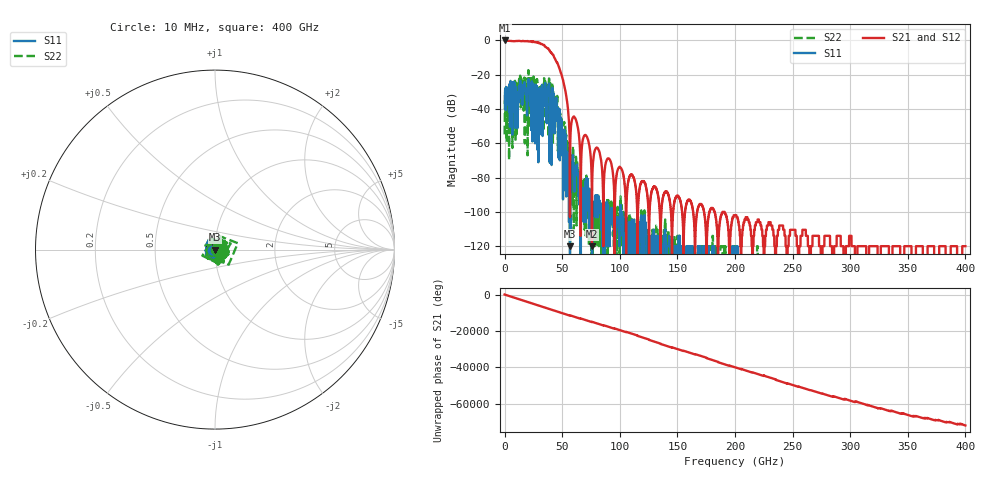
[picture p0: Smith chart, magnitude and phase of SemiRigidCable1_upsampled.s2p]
# MHz MA S R 50.0
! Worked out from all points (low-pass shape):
!   40000 points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, 10 MHz to 400 GHz, reference 50 ohm
!   highest |S21| = -0.03 dB at 10 MHz (marker M1); lowest = -120.0 dB at 75.84 GHz (marker M2)
!   |S21| within 3 dB of the highest: start of sweep to 34.58 GHz
!   lowest |S11| = -120.0 dB at 56.75 GHz (marker M3), VSWR 1.00, Z = 50 + j9.85e-05 ohm
!   |S11| at or under -10 dB: start of sweep to end of sweep
!   |S22| runs from - to -17.3 dB; largest |S21 - S12| = 0.023
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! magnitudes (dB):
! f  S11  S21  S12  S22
! 10 MHz  -36.4  0.0  0.0  -54.8
! 2.41 GHz  -29.6  -0.2  -0.2  -32.8
! 13.51 GHz  -23.4  -0.4  -0.4  -20.5
! 35.93 GHz  -32.1  -3.9  -4.0  -27.5
! 43.11 GHz  -37.4  -10.0  -10.0  -37.7
! 49.42 GHz  -46.6  -20.0  -20.1  -45.8
! 53.11 GHz  -57.5  -30.7  -30.7  -57.7
! 56.75 GHz  -120.0  -89.4  -89.4  -110.5
! 61.41 GHz  -75.9  -45.5  -45.5  -79.3
! 66.68 GHz  -90.5  -66.5  -66.5  -88.4
! 70.91 GHz  -83.1  -55.6  -55.6  -79.3
! 75.84 GHz  -  -120.0  -120.0  -
! 80.25 GHz  -94.9  -62.5  -62.5  -100.0
! 85.84 GHz  -120.0  -91.7  -91.7  -120.0
! 90.22 GHz  -110.5  -68.8  -68.8  -97.1
! 95.71 GHz  -  -98.4  -98.4  -
! 100.1 GHz  -104.4  -73.8  -73.8  -104.4
! 133.3 GHz  -  -90.8  -91.1  -114.0
! 200 GHz  -  -101.9  -101.9  -
! 266.7 GHz  -  -120.0  -120.0  -
! 333.3 GHz  -  -120.0  -120.0  -
! 400 GHz  -  -120.0  -120.0  -
